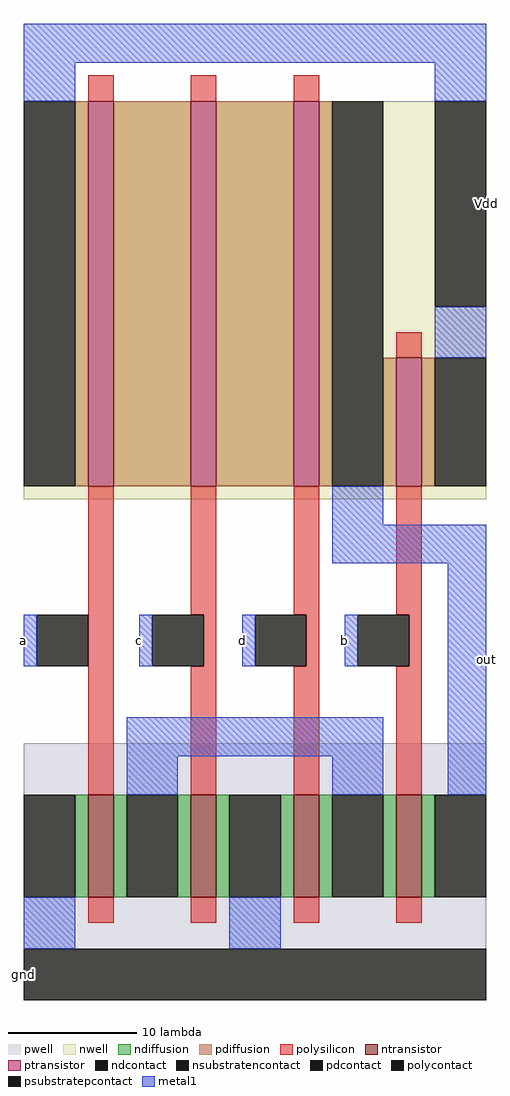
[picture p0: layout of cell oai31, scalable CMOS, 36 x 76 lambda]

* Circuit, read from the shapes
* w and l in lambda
.subckt oai31 Vdd a b c d gnd out
M1 n1 a gnd gnd nfet w=8 l=2
M2 gnd c n1 gnd nfet w=8 l=2
M3 n1 d gnd gnd nfet w=8 l=2
M4 out b n1 gnd nfet w=8 l=2
M5 n2 a Vdd Vdd pfet w=30 l=2
M6 n3 c n2 Vdd pfet w=30 l=2
M7 out d n3 Vdd pfet w=30 l=2
M8 Vdd b out Vdd pfet w=10 l=2
.ends

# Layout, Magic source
magic
tech scmos
<< pwell >>
rect -11 -22 25 -2
<< nwell >>
rect -11 17 25 48
<< polysilicon >>
rect -6 48 -4 50
rect 2 48 4 50
rect 10 48 12 50
rect 18 28 20 30
rect -6 -6 -4 18
rect 2 8 4 18
rect 10 8 12 18
rect 18 8 20 18
rect 3 4 4 8
rect 11 4 12 8
rect 19 4 20 8
rect 2 -6 4 4
rect 10 -6 12 4
rect 18 -6 20 4
rect -6 -16 -4 -14
rect 2 -16 4 -14
rect 10 -16 12 -14
rect 18 -16 20 -14
<< ndiffusion >>
rect -7 -14 -6 -6
rect -4 -14 -3 -6
rect 1 -14 2 -6
rect 4 -14 5 -6
rect 9 -14 10 -6
rect 12 -14 13 -6
rect 17 -14 18 -6
rect 20 -14 21 -6
<< pdiffusion >>
rect -7 18 -6 48
rect -4 18 2 48
rect 4 18 10 48
rect 12 18 13 48
rect 17 18 18 28
rect 20 18 21 28
<< metal1 >>
rect -11 51 25 54
rect -11 48 -7 51
rect 21 48 25 51
rect 21 28 25 32
rect 13 15 17 18
rect 13 12 25 15
rect -11 4 -10 8
rect -2 4 -1 8
rect 6 4 7 8
rect 14 4 15 8
rect -3 -3 17 0
rect -3 -6 1 -3
rect 13 -6 17 -3
rect 22 -6 25 12
rect -11 -18 -7 -14
rect 5 -18 9 -14
<< ntransistor >>
rect -6 -14 -4 -6
rect 2 -14 4 -6
rect 10 -14 12 -6
rect 18 -14 20 -6
<< ptransistor >>
rect -6 18 -4 48
rect 2 18 4 48
rect 10 18 12 48
rect 18 18 20 28
<< polycontact >>
rect -10 4 -6 8
rect -1 4 3 8
rect 7 4 11 8
rect 15 4 19 8
<< ndcontact >>
rect -11 -14 -7 -6
rect -3 -14 1 -6
rect 5 -14 9 -6
rect 13 -14 17 -6
rect 21 -14 25 -6
<< pdcontact >>
rect -11 18 -7 48
rect 13 18 17 48
rect 21 18 25 28
<< psubstratepcontact >>
rect -11 -22 25 -18
<< nsubstratencontact >>
rect 21 32 25 48
<< labels >>
rlabel psubstratepcontact -11 -22 -11 -18 2 gnd
rlabel metal1 25 -6 25 15 7 out
rlabel metal1 -11 4 -11 8 3 a
rlabel metal1 -2 4 -2 8 1 c
rlabel metal1 6 4 6 8 1 d
rlabel metal1 14 4 14 8 1 b
rlabel nsubstratencontact 25 32 25 48 7 Vdd
<< end >>
